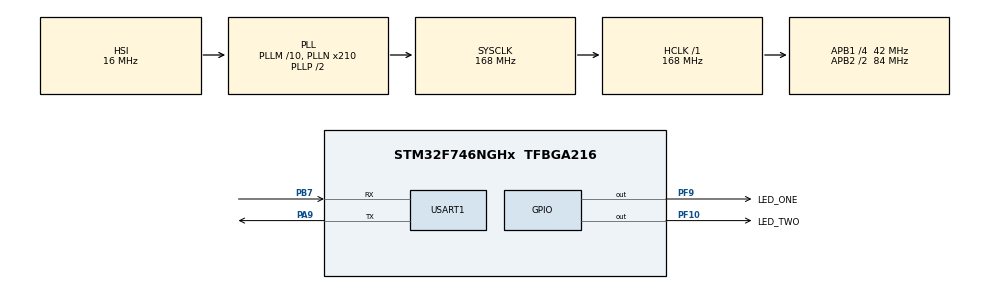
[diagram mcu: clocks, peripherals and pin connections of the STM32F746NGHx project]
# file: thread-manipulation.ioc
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FREERTOS.Tasks01=defaultTask,0,128,StartDefaultTask,Default,NULL,Dynamic,NULL,NULL;ControlLedOne,-3,128,StartControlLedOne,Default,NULL,Dynamic,NULL,NULL;ControlLedTwo,-3,128,StartControlLedTwo,Default,NULL,Dynamic,NULL,NULL
Mcu.Family=STM32F7
Mcu.Name=STM32F746NGHx
Mcu.Package=TFBGA216
NVIC.PriorityGroup=NVIC_PRIORITYGROUP_4
NVIC.TIM8_TRG_COM_TIM14_IRQn=true\:0\:0\:false\:false\:true\:false\:false\:true
NVIC.TimeBase=TIM8_TRG_COM_TIM14_IRQn
NVIC.TimeBaseIP=TIM14
PA13.Mode=Serial_Wire
PA13.Signal=SYS_JTMS-SWDIO
PA14.Mode=Serial_Wire
PA14.Signal=SYS_JTCK-SWCLK
PA9.Mode=Asynchronous
PA9.Signal=USART1_TX
PB7.Mode=Asynchronous
PB7.Signal=USART1_RX
PC14/OSC32_IN.Mode=LSE-External-Oscillator
PC14/OSC32_IN.Signal=RCC_OSC32_IN
PC15/OSC32_OUT.Mode=LSE-External-Oscillator
PC15/OSC32_OUT.Signal=RCC_OSC32_OUT
PF10.GPIO_Label=LED_TWO
PF10.Signal=GPIO_Output
PF9.GPIO_Label=LED_ONE
PF9.Signal=GPIO_Output
PH0/OSC_IN.Mode=HSE-External-Clock-Source
PH0/OSC_IN.Signal=RCC_OSC_IN
PH1/OSC_OUT.Mode=HSE-External-Clock-Source
PH1/OSC_OUT.Signal=RCC_OSC_OUT
ProjectManager.HeapSize=0x200
ProjectManager.StackSize=0x400
ProjectManager.TargetToolchain=STM32CubeIDE
RCC.AHBFreq_Value=168000000
RCC.APB1CLKDivider=RCC_HCLK_DIV4
RCC.APB1Freq_Value=42000000
RCC.APB1TimFreq_Value=84000000
RCC.APB2CLKDivider=RCC_HCLK_DIV2
RCC.APB2Freq_Value=84000000
RCC.APB2TimFreq_Value=168000000
RCC.CortexFreq_Value=168000000
RCC.HCLKFreq_Value=168000000
RCC.HSE_VALUE=25000000
RCC.HSI_VALUE=16000000
RCC.PLLM=10
RCC.PLLN=210
RCC.PLLSourceVirtual=RCC_PLLSOURCE_HSI
RCC.SYSCLKFreq_VALUE=168000000
RCC.SYSCLKSource=RCC_SYSCLKSOURCE_PLLCLK
RCC.USBFreq_Value=168000000
RCC.VCOOutputFreq_Value=336000000
USART1.VirtualMode-Asynchronous=VM_ASYNC
VP_FREERTOS_VS_CMSIS_V1.Mode=CMSIS_V1
VP_SYS_VS_tim14.Mode=TIM14
board=STM32F746G-DISCO

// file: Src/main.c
/* USER CODE BEGIN Header */
/**
  ******************************************************************************
  * @file           : main.c
  * @brief          : Main program body
  ******************************************************************************
  * @attention
  *
  * <h2><center>&copy; Copyright (c) 2019 STMicroelectronics.
  * All rights reserved.</center></h2>
  *
  * This software component is licensed by ST under BSD 3-Clause license,
  * the "License"; You may not use this file except in compliance with the
  * License. You may obtain a copy of the License at:
  *                        opensource.org/licenses/BSD-3-Clause
  *
  ******************************************************************************
  */
/* USER CODE END Header */

#include "main.h"
#include "cmsis_os.h"

UART_HandleTypeDef huart1;

osThreadId defaultTaskHandle;
osThreadId ControlLedOneHandle;
osThreadId ControlLedTwoHandle;

void SystemClock_Config(void);
static void MX_GPIO_Init(void);
static void MX_USART1_UART_Init(void);
void StartDefaultTask(void const * argument);
void StartControlLedOne(void const * argument);
void StartControlLedTwo(void const * argument);

/* USER CODE BEGIN PFP */
void test_leds();
/* USER CODE END PFP */

/* USER CODE BEGIN 0 */
void test_leds()
{
	HAL_GPIO_TogglePin(LED_ONE_GPIO_Port, LED_ONE_Pin);
	HAL_GPIO_TogglePin(LED_TWO_GPIO_Port, LED_TWO_Pin);
}
/* USER CODE END 0 */

int main(void)
{

  /* MCU Configuration--------------------------------------------------------*/

  /* Reset of all peripherals, Initializes the Flash interface and the Systick. */
  HAL_Init();

  /* Configure the system clock */
  SystemClock_Config();

  /* Initialize all configured peripherals */
  MX_GPIO_Init();
  MX_USART1_UART_Init();

  /* Create the thread(s) */
  /* definition and creation of defaultTask */
  osThreadDef(defaultTask, StartDefaultTask, osPriorityNormal, 0, 128);
  defaultTaskHandle = osThreadCreate(osThread(defaultTask), NULL);

  /* definition and creation of ControlLedOne */
  osThreadDef(ControlLedOne, StartControlLedOne, osPriorityIdle, 0, 128);
  ControlLedOneHandle = osThreadCreate(osThread(ControlLedOne), NULL);

  /* definition and creation of ControlLedTwo */
  osThreadDef(ControlLedTwo, StartControlLedTwo, osPriorityIdle, 0, 128);
  ControlLedTwoHandle = osThreadCreate(osThread(ControlLedTwo), NULL);

  /* Start scheduler */
  osKernelStart();

  /* We should never get here as control is now taken by the scheduler */

  /* Infinite loop */
  while (1)
  {

  }
}

void SystemClock_Config(void)
{
  RCC_OscInitTypeDef RCC_OscInitStruct = {0};
  RCC_ClkInitTypeDef RCC_ClkInitStruct = {0};
  RCC_PeriphCLKInitTypeDef PeriphClkInitStruct = {0};

  /** Configure LSE Drive Capability
  */
  HAL_PWR_EnableBkUpAccess();
  /** Configure the main internal regulator output voltage
  */
  __HAL_RCC_PWR_CLK_ENABLE();
  __HAL_PWR_VOLTAGESCALING_CONFIG(PWR_REGULATOR_VOLTAGE_SCALE2);
  /** Initializes the CPU, AHB and APB busses clocks
  */
  RCC_OscInitStruct.OscillatorType = RCC_OSCILLATORTYPE_HSI;
  RCC_OscInitStruct.HSIState = RCC_HSI_ON;
  RCC_OscInitStruct.HSICalibrationValue = RCC_HSICALIBRATION_DEFAULT;
  RCC_OscInitStruct.PLL.PLLState = RCC_PLL_ON;
  RCC_OscInitStruct.PLL.PLLSource = RCC_PLLSOURCE_HSI;
  RCC_OscInitStruct.PLL.PLLM = 10;
  RCC_OscInitStruct.PLL.PLLN = 210;
  RCC_OscInitStruct.PLL.PLLP = RCC_PLLP_DIV2;
  RCC_OscInitStruct.PLL.PLLQ = 2;
  if (HAL_RCC_OscConfig(&RCC_OscInitStruct) != HAL_OK)
  {
    Error_Handler();
  }
  /** Initializes the CPU, AHB and APB busses clocks
  */
  RCC_ClkInitStruct.ClockType = RCC_CLOCKTYPE_HCLK|RCC_CLOCKTYPE_SYSCLK
                              |RCC_CLOCKTYPE_PCLK1|RCC_CLOCKTYPE_PCLK2;
  RCC_ClkInitStruct.SYSCLKSource = RCC_SYSCLKSOURCE_PLLCLK;
  RCC_ClkInitStruct.AHBCLKDivider = RCC_SYSCLK_DIV1;
  RCC_ClkInitStruct.APB1CLKDivider = RCC_HCLK_DIV4;
  RCC_ClkInitStruct.APB2CLKDivider = RCC_HCLK_DIV2;

  if (HAL_RCC_ClockConfig(&RCC_ClkInitStruct, FLASH_LATENCY_5) != HAL_OK)
  {
    Error_Handler();
  }
  PeriphClkInitStruct.PeriphClockSelection = RCC_PERIPHCLK_USART1;
  PeriphClkInitStruct.Usart1ClockSelection = RCC_USART1CLKSOURCE_PCLK2;
  if (HAL_RCCEx_PeriphCLKConfig(&PeriphClkInitStruct) != HAL_OK)
  {
    Error_Handler();
  }
}

static void MX_USART1_UART_Init(void)
{

  huart1.Instance = USART1;
  huart1.Init.BaudRate = 115200;
  huart1.Init.WordLength = UART_WORDLENGTH_8B;
  huart1.Init.StopBits = UART_STOPBITS_1;
  huart1.Init.Parity = UART_PARITY_NONE;
  huart1.Init.Mode = UART_MODE_TX_RX;
  huart1.Init.HwFlowCtl = UART_HWCONTROL_NONE;
  huart1.Init.OverSampling = UART_OVERSAMPLING_16;
  huart1.Init.OneBitSampling = UART_ONE_BIT_SAMPLE_DISABLE;
  huart1.AdvancedInit.AdvFeatureInit = UART_ADVFEATURE_NO_INIT;
  if (HAL_UART_Init(&huart1) != HAL_OK)
  {
    Error_Handler();
  }

}

static void MX_GPIO_Init(void)
{
  GPIO_InitTypeDef GPIO_InitStruct = {0};

  /* GPIO Ports Clock Enable */
  __HAL_RCC_GPIOA_CLK_ENABLE();
  __HAL_RCC_GPIOB_CLK_ENABLE();
  __HAL_RCC_GPIOC_CLK_ENABLE();
  __HAL_RCC_GPIOH_CLK_ENABLE();
  __HAL_RCC_GPIOF_CLK_ENABLE();

  /*Configure GPIO pin Output Level */
  HAL_GPIO_WritePin(GPIOF, LED_TWO_Pin|LED_ONE_Pin, GPIO_PIN_RESET);

  /*Configure GPIO pins : LED_TWO_Pin LED_ONE_Pin */
  GPIO_InitStruct.Pin = LED_TWO_Pin|LED_ONE_Pin;
  GPIO_InitStruct.Mode = GPIO_MODE_OUTPUT_PP;
  GPIO_InitStruct.Pull = GPIO_NOPULL;
  GPIO_InitStruct.Speed = GPIO_SPEED_FREQ_LOW;
  HAL_GPIO_Init(GPIOF, &GPIO_InitStruct);

}

void StartDefaultTask(void const * argument)
{

  for(;;)
  {
    osDelay(1);
  }
}

void StartControlLedOne(void const * argument)
{
  /* USER CODE BEGIN StartControlLedOne */
  /* Infinite loop */
  for(;;)
  {
	  for(int i = 0; i < 25; ++i){
			HAL_GPIO_TogglePin(LED_ONE_GPIO_Port, LED_ONE_Pin);
		    osDelay(200);
	  }

	  osThreadSuspend(NULL);

	  for(int i = 0; i < 5; ++i){
			HAL_GPIO_TogglePin(LED_ONE_GPIO_Port, LED_ONE_Pin);
			osDelay(1000);
	  }

	  osThreadResume(ControlLedTwoHandle);
  }

  /* USER CODE END StartControlLedOne */
}

void StartControlLedTwo(void const * argument)
{
  /* USER CODE BEGIN StartControlLedTwo */
  /* Infinite loop */
  for(;;)
  {
	  for(int i = 0; i < 20; ++i){
			HAL_GPIO_TogglePin(LED_TWO_GPIO_Port, LED_TWO_Pin);
		    osDelay(500);
	  }
	  osThreadResume(ControlLedOneHandle);
	  osThreadSuspend(NULL);
  }
  /* USER CODE END StartControlLedTwo */
}

void HAL_TIM_PeriodElapsedCallback(TIM_HandleTypeDef *htim)
{
  if (htim->Instance == TIM14) {
    HAL_IncTick();
  }
}

void Error_Handler(void)
{
}

/************************ (C) COPYRIGHT STMicroelectronics *****END OF FILE****/
